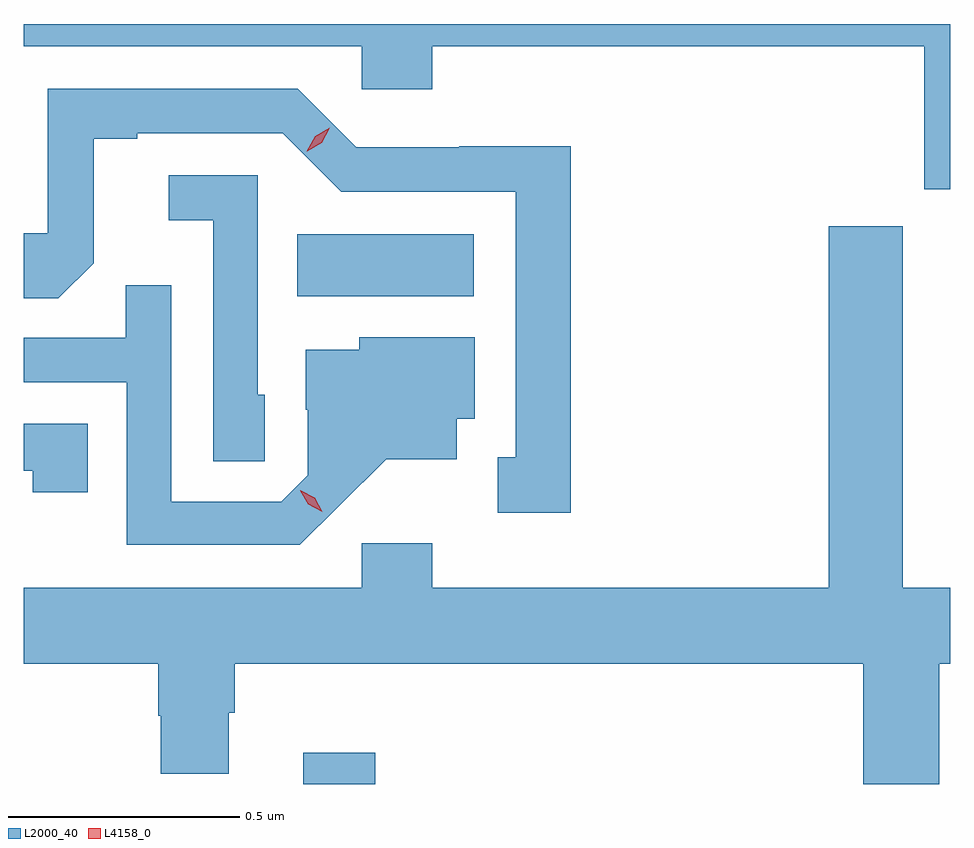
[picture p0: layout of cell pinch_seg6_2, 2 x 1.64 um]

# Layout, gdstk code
import gdstk
lib = gdstk.Library(unit=1e-6, precision=1e-09)
def R(c, l, rs):  # rectangles x0, y0, x1, y1
    for r in rs: c.add(gdstk.rectangle(r[:2], r[2:], *l))
def P(c, l, *ps):  # polygons
    for p in ps: c.add(gdstk.Polygon(p, *l))
L2000_40 = (2000, 40)
L4158_0 = (4158, 0)

pinch_seg6_2 = lib.new_cell('pinch_seg6_2')
R(pinch_seg6_2, L2000_40, [(1062.899,996.36,1063.055,996.427), (1062.886,997.412,1063.267,997.546)])
P(pinch_seg6_2, L2000_40, [(1062.296,997.952),(1063.026,997.952),(1063.026,997.859),(1063.178,997.859),(1063.178,997.952),(1064.24,997.952),(1064.24,997.643),(1064.296,997.643),(1064.296,998),(1062.296,998)],
  [(1063.477,997.736),(1063.236,997.736),(1063.236,997.734),(1063.014,997.734),(1062.888,997.86),(1062.348,997.86),(1062.348,997.548),(1062.296,997.548),(1062.296,997.408),(1062.371,997.408),(1062.447,997.484),(1062.447,997.752),(1062.541,997.752),(1062.541,997.764),(1062.855,997.764),(1062.981,997.638),(1063.358,997.638),(1063.358,997.065),(1063.319,997.065),(1063.319,996.945),(1063.477,996.945)],
  [(1062.816,997.2),(1062.801,997.2),(1062.801,997.674),(1062.609,997.674),(1062.609,997.577),(1062.705,997.577),(1062.705,997.057),(1062.816,997.057)],
  [(1064.272,996.62),(1064.296,996.62),(1064.296,996.784),(1064.193,996.784),(1064.193,997.564),(1064.033,997.564),(1064.033,996.784),(1063.178,996.784),(1063.178,996.88),(1063.026,996.88),(1063.026,996.784),(1062.296,996.784),(1062.296,996.62),(1062.587,996.62),(1062.587,996.507),(1062.592,996.507),(1062.592,996.382),(1062.739,996.382),(1062.739,996.514),(1062.752,996.514),(1062.752,996.62),(1064.108,996.62),(1064.108,996.36),(1064.272,996.36)],
  [(1062.976,996.959),(1063.079,997.061),(1063.231,997.061),(1063.231,997.148),(1063.27,997.148),(1063.27,997.324),(1063.02,997.324),(1063.02,997.297),(1062.905,997.297),(1062.905,997.168),(1062.909,997.168),(1062.909,997.026),(1062.852,996.969),(1062.615,996.969),(1062.615,997.436),(1062.517,997.436),(1062.517,997.323),(1062.296,997.323),(1062.296,997.227),(1062.519,997.227),(1062.519,996.876),(1062.892,996.876)],
  [(1062.434,997.137),(1062.296,997.137),(1062.296,997.036),(1062.316,997.036),(1062.316,996.99),(1062.434,996.99)])
P(pinch_seg6_2, L4158_0, [(1062.907,997.725),(1062.907,997.725),(1062.925,997.758),(1062.957,997.776),(1062.957,997.776),(1062.957,997.776),(1062.939,997.744),(1062.908,997.725)],
  [(1062.941,996.948),(1062.91,996.964),(1062.893,996.993),(1062.893,996.994),(1062.893,996.994),(1062.924,996.978),(1062.941,996.948),(1062.941,996.948)])

lib.write_gds('pinch_seg6_2.gds')
